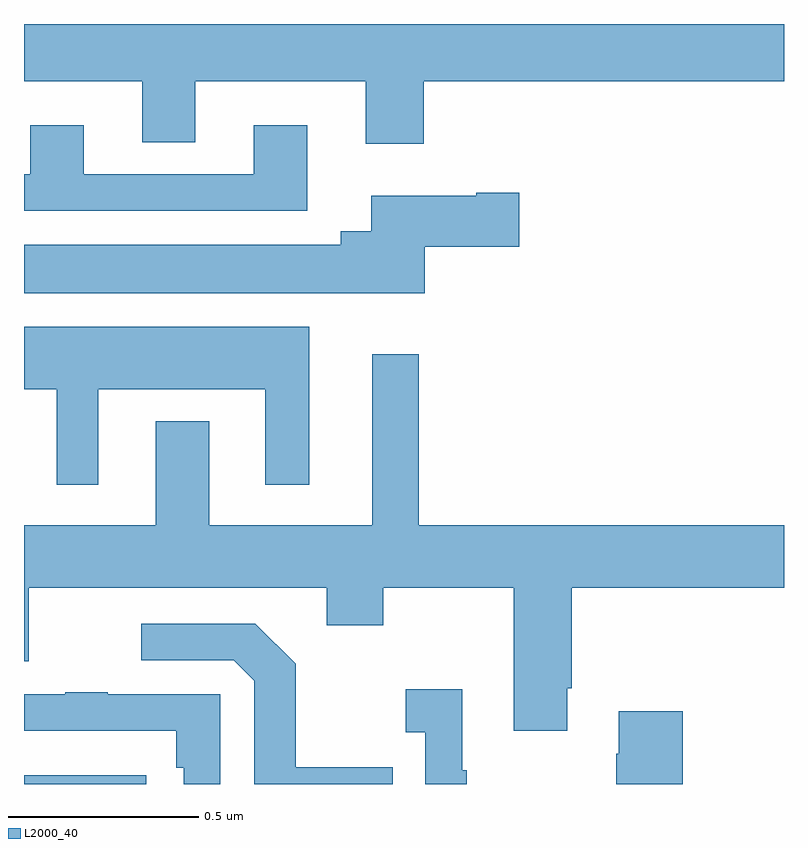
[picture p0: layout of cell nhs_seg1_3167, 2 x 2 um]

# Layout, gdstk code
import gdstk
lib = gdstk.Library(unit=1e-6, precision=1e-09)
def R(c, l, rs):  # rectangles x0, y0, x1, y1
    for r in rs: c.add(gdstk.rectangle(r[:2], r[2:], *l))
def P(c, l, *ps):  # polygons
    for p in ps: c.add(gdstk.Polygon(p, *l))
L2000_40 = (2000, 40)

nhs_seg1_3167 = lib.new_cell('nhs_seg1_3167')
R(nhs_seg1_3167, L2000_40, [(150,567.199,150.322,567.222)])
P(nhs_seg1_3167, L2000_40, [(151.052,569.048),(152,569.048),(152,569.199),(150,569.199),(150,569.048),(150.311,569.048),(150.311,568.888),(150.451,568.888),(150.451,569.048),(150.899,569.048),(150.899,568.884),(151.052,568.884)],
  [(150.745,568.933),(150.605,568.933),(150.605,568.803),(150.157,568.803),(150.157,568.933),(150.017,568.933),(150.017,568.803),(150,568.803),(150,568.707),(150.745,568.707)],
  [(151.054,568.613),(151.303,568.613),(151.303,568.755),(151.19,568.755),(151.19,568.747),(150.914,568.747),(150.914,568.654),(150.833,568.654),(150.833,568.618),(150,568.618),(150,568.49),(151.054,568.49)],
  [(150.196,568.238),(150.635,568.238),(150.635,567.987),(150.751,567.987),(150.751,568.402),(150,568.402),(150,568.238),(150.086,568.238),(150.086,567.987),(150.196,567.987)],
  [(151.429,567.451),(151.442,567.451),(151.442,567.716),(152,567.716),(152,567.88),(151.039,567.88),(151.039,568.33),(150.917,568.33),(150.917,567.88),(150.487,567.88),(150.487,568.153),(150.347,568.153),(150.347,567.88),(150,567.88),(150,567.522),(150.013,567.522),(150.013,567.716),(150.797,567.716),(150.797,567.617),(150.945,567.617),(150.945,567.716),(151.289,567.716),(151.289,567.339),(151.429,567.339)],
  [(150.971,567.243),(150.715,567.243),(150.715,567.515),(150.609,567.621),(150.309,567.621),(150.309,567.525),(150.552,567.525),(150.606,567.471),(150.606,567.199),(150.971,567.199)],
  [(151.165,567.235),(151.153,567.235),(151.153,567.448),(151.005,567.448),(151.005,567.335),(151.056,567.335),(151.056,567.199),(151.165,567.199)],
  [(150.516,567.435),(150.221,567.435),(150.221,567.44),(150.109,567.44),(150.109,567.435),(150,567.435),(150,567.339),(150.4,567.339),(150.4,567.242),(150.42,567.242),(150.42,567.199),(150.516,567.199)],
  [(151.733,567.391),(151.565,567.391),(151.565,567.278),(151.558,567.278),(151.558,567.199),(151.733,567.199)])

lib.write_gds('nhs_seg1_3167.gds')
